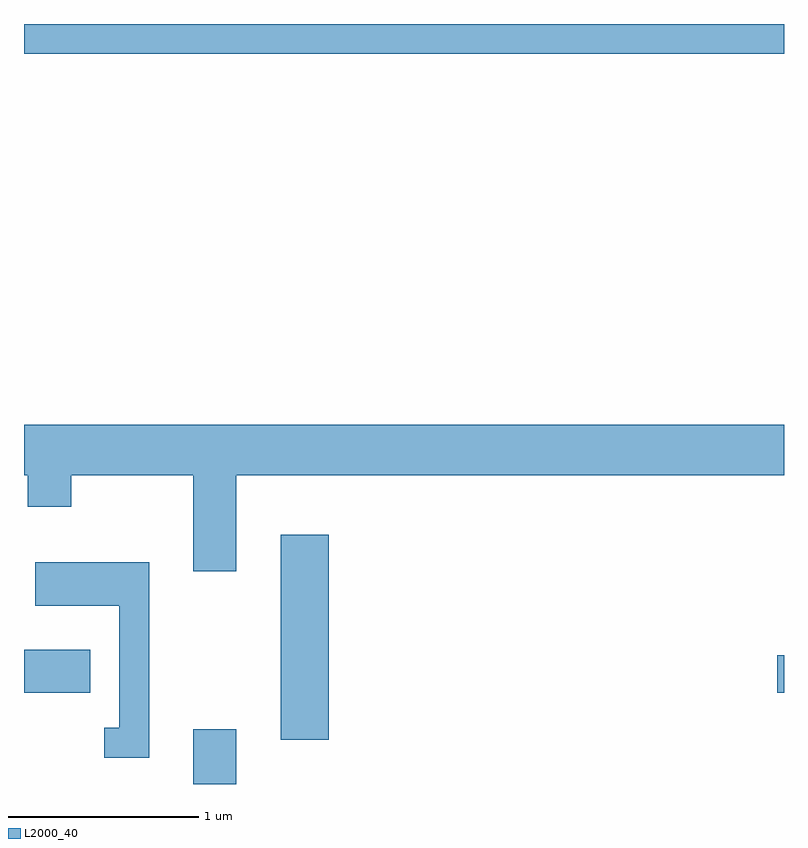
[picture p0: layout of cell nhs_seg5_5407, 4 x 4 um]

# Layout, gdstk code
import gdstk
lib = gdstk.Library(unit=1e-6, precision=1e-09)
def R(c, l, rs):  # rectangles x0, y0, x1, y1
    for r in rs: c.add(gdstk.rectangle(r[:2], r[2:], *l))
def P(c, l, *ps):  # polygons
    for p in ps: c.add(gdstk.Polygon(p, *l))
L2000_40 = (2000, 40)

nhs_seg5_5407 = lib.new_cell('nhs_seg5_5407')
R(nhs_seg5_5407, L2000_40, [(346.501,1444.072,346.729,1444.359), (346.961,1444.306,347.214,1445.384), (345.611,1444.551,345.959,1444.779), (349.576,1444.551,349.611,1444.749), (345.611,1447.916,349.611,1448.072)])
P(nhs_seg5_5407, L2000_40, [(346.729,1445.696),(349.611,1445.696),(349.611,1445.964),(345.611,1445.964),(345.611,1445.696),(345.631,1445.696),(345.631,1445.531),(345.859,1445.531),(345.859,1445.696),(346.501,1445.696),(346.501,1445.191),(346.729,1445.191)],
  [(346.269,1445.239),(345.671,1445.239),(345.671,1445.011),(346.111,1445.011),(346.111,1444.369),(346.033,1444.369),(346.033,1444.211),(346.269,1444.211)])

lib.write_gds('nhs_seg5_5407.gds')
